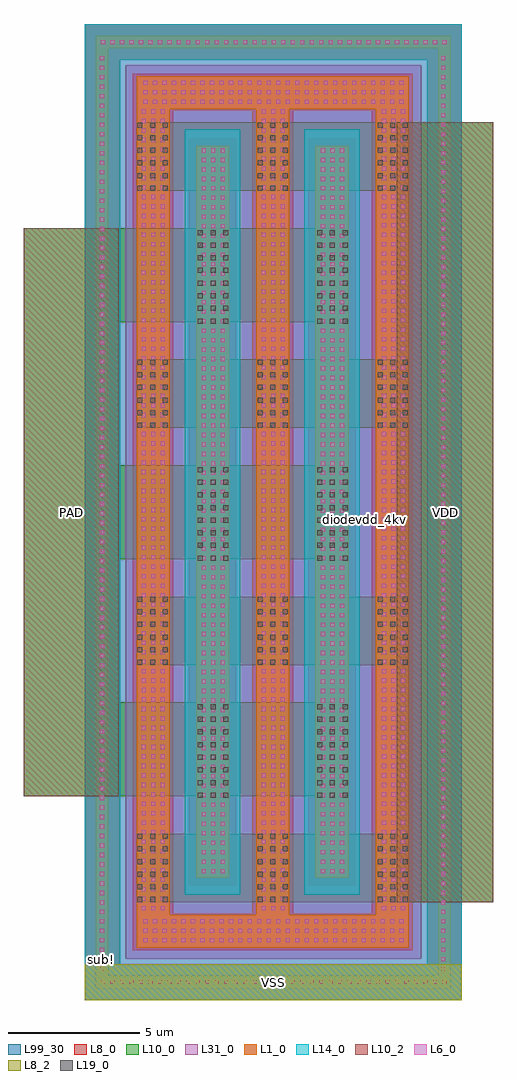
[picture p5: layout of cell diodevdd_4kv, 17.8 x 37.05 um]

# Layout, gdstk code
import gdstk
lib = gdstk.Library(unit=1e-6, precision=1e-09)
def R(c, l, rs):  # rectangles x0, y0, x1, y1
    for r in rs: c.add(gdstk.rectangle(r[:2], r[2:], *l))
def A(c, l, x, y, w, h, nx, ny, dx, dy):  # array of equal rectangles
    R(c, l, [(x+i*dx, y+j*dy, x+i*dx+w, y+j*dy+h) for i in range(nx) for j in range(ny)])
def P(c, l, *ps):  # polygons
    for p in ps: c.add(gdstk.Polygon(p, *l))
L1_0 = (1, 0)
L6_0 = (6, 0)
L8_0 = (8, 0)
L8_2 = (8, 2)
L10_0 = (10, 0)
L10_2 = (10, 2)
L14_0 = (14, 0)
L19_0 = (19, 0)
L31_0 = (31, 0)
L99_30 = (99, 30)

diodevdd_4kv = lib.new_cell('diodevdd_4kv')
R(diodevdd_4kv, L1_0, [(4.23,4.65,5.49,32.43), (8.76,4.65,10.02,32.43)])
P(diodevdd_4kv, L1_0, [(1.98,1.98),(1.98,3.24),(11.05,3.24),(11.05,33.81),(7.77,33.81),(7.77,3.24),(6.51,3.24),(6.51,33.81),(3.24,33.81),(3.24,3.24),(1.98,3.24),(1.98,35.07),(12.31,35.07),(12.31,1.98)],
  [(0.42,0.45),(0.42,0.93),(13.42,0.93),(13.42,36.12),(0.9,36.12),(0.9,0.93),(0.42,0.93),(0.42,36.6),(13.9,36.6),(13.9,0.45)])
A(diodevdd_4kv, L6_0, 0.62, 0.61, 0.16, 0.16, 37, 2, 0.36, 35.67)
A(diodevdd_4kv, L6_0, 0.58, 1.105, 0.16, 0.16, 1, 97, 0, 0.36)
A(diodevdd_4kv, L6_0, 13.54, 1.105, 0.16, 0.16, 1, 97, 0, 0.36)
A(diodevdd_4kv, L6_0, 2.235, 2.19, 0.16, 0.16, 28, 3, 0.36, 0.36)
A(diodevdd_4kv, L6_0, 2.165, 3.405, 0.16, 0.16, 3, 85, 0.36, 0.36)
A(diodevdd_4kv, L6_0, 6.725, 3.405, 0.16, 0.16, 3, 85, 0.36, 0.36)
A(diodevdd_4kv, L6_0, 11.285, 3.405, 0.16, 0.16, 3, 85, 0.36, 0.36)
A(diodevdd_4kv, L6_0, 4.44, 4.81, 0.16, 0.16, 3, 77, 0.36, 0.36)
A(diodevdd_4kv, L6_0, 8.97, 4.81, 0.16, 0.16, 3, 77, 0.36, 0.36)
A(diodevdd_4kv, L6_0, 2.235, 34.02, 0.16, 0.16, 28, 3, 0.36, 0.36)
R(diodevdd_4kv, L8_0, [(3.96,4.35,5.76,32.7), (8.49,4.35,10.29,32.7)])
P(diodevdd_4kv, L8_0, [(1.83,1.89),(1.83,3.3),(10.9,3.3),(10.9,33.75),(7.92,33.75),(7.92,3.3),(6.36,3.3),(6.36,33.75),(3.36,33.75),(3.36,3.3),(1.83,3.3),(1.83,35.16),(12.46,35.16),(12.46,1.89)],
  [(0,0),(0,1.35),(13,1.35),(13,35.7),(1.35,35.7),(1.35,1.35),(0,1.35),(0,37.05),(14.32,37.05),(14.32,0)])
R(diodevdd_4kv, L8_2, [(0,0,14.32,1.35)])
P(diodevdd_4kv, L10_0, [(1.955,3.715),(1.955,6.315),(11.86,6.315),(11.86,12.715),(1.955,12.715),(1.955,15.315),(11.86,15.315),(11.86,21.715),(1.955,21.715),(1.955,24.315),(11.86,24.315),(11.86,30.715),(1.955,30.715),(1.955,33.315),(15.505,33.315),(15.505,3.715)],
  [(4.255,7.675),(4.255,7.735),(-2.3,7.735),(-2.3,29.295),(9.54,29.295),(9.54,29.235),(10.035,29.235),(10.035,25.675),(8.785,25.675),(8.785,25.735),(5.505,25.735),(5.505,25.675),(4.255,25.675),(4.255,25.735),(1.305,25.735),(1.305,20.295),(9.54,20.295),(9.54,20.235),(10.035,20.235),(10.035,16.675),(8.785,16.675),(8.785,16.735),(5.505,16.735),(5.505,16.675),(4.255,16.675),(4.255,16.735),(1.305,16.735),(1.305,11.295),(9.54,11.295),(9.54,11.235),(10.035,11.235),(10.035,7.675),(8.785,7.675),(8.785,7.735),(5.505,7.735),(5.505,7.675)])
R(diodevdd_4kv, L10_2, [(11.86,3.715,15.505,33.315), (-2.3,7.735,1.305,29.295)])
R(diodevdd_4kv, L14_0, [(3.81,3.99,5.91,33.06), (8.34,3.99,10.44,33.06)])
P(diodevdd_4kv, L14_0, [(0,0),(0,1.35),(13,1.35),(13,35.7),(1.35,35.7),(1.35,1.35),(0,1.35),(0,37.05),(14.32,37.05),(14.32,0)])
A(diodevdd_4kv, L19_0, 2.005, 3.72, 0.19, 0.19, 3, 6, 0.48, 0.48)
A(diodevdd_4kv, L19_0, 6.565, 3.72, 0.19, 0.19, 3, 6, 0.48, 0.48)
A(diodevdd_4kv, L19_0, 11.125, 3.72, 0.19, 0.19, 3, 6, 0.48, 0.48)
A(diodevdd_4kv, L19_0, 4.305, 7.68, 0.19, 0.19, 3, 8, 0.48, 0.48)
A(diodevdd_4kv, L19_0, 8.835, 7.68, 0.19, 0.19, 3, 8, 0.48, 0.48)
A(diodevdd_4kv, L19_0, 2.005, 12.72, 0.19, 0.19, 3, 6, 0.48, 0.48)
A(diodevdd_4kv, L19_0, 6.565, 12.72, 0.19, 0.19, 3, 6, 0.48, 0.48)
A(diodevdd_4kv, L19_0, 11.125, 12.72, 0.19, 0.19, 3, 6, 0.48, 0.48)
A(diodevdd_4kv, L19_0, 4.305, 16.68, 0.19, 0.19, 3, 8, 0.48, 0.48)
A(diodevdd_4kv, L19_0, 8.835, 16.68, 0.19, 0.19, 3, 8, 0.48, 0.48)
A(diodevdd_4kv, L19_0, 2.005, 21.72, 0.19, 0.19, 3, 6, 0.48, 0.48)
A(diodevdd_4kv, L19_0, 6.565, 21.72, 0.19, 0.19, 3, 6, 0.48, 0.48)
A(diodevdd_4kv, L19_0, 11.125, 21.72, 0.19, 0.19, 3, 6, 0.48, 0.48)
A(diodevdd_4kv, L19_0, 4.305, 25.68, 0.19, 0.19, 3, 8, 0.48, 0.48)
A(diodevdd_4kv, L19_0, 8.835, 25.68, 0.19, 0.19, 3, 8, 0.48, 0.48)
A(diodevdd_4kv, L19_0, 2.005, 30.72, 0.19, 0.19, 3, 6, 0.48, 0.48)
A(diodevdd_4kv, L19_0, 6.565, 30.72, 0.19, 0.19, 3, 6, 0.48, 0.48)
A(diodevdd_4kv, L19_0, 11.125, 30.72, 0.19, 0.19, 3, 6, 0.48, 0.48)
R(diodevdd_4kv, L31_0, [(1.56,1.56,12.79,35.49)])
R(diodevdd_4kv, L99_30, [(0,0,14.32,37.05)])
diodevdd_4kv.add(gdstk.Label('VSS', (7.16,0.675), layer=63, texttype=0))
diodevdd_4kv.add(gdstk.Label('PAD', (-0.5,18.517), layer=63, texttype=0))
diodevdd_4kv.add(gdstk.Label('VDD', (13.685,18.513), layer=63, texttype=0))
diodevdd_4kv.add(gdstk.Label('sub!', (0.66,1.55), layer=63, texttype=0))
diodevdd_4kv.add(gdstk.Label('diodevdd_4kv', (10.62,18.25), layer=63, texttype=0))

lib.write_gds('diodevdd_4kv.gds')
